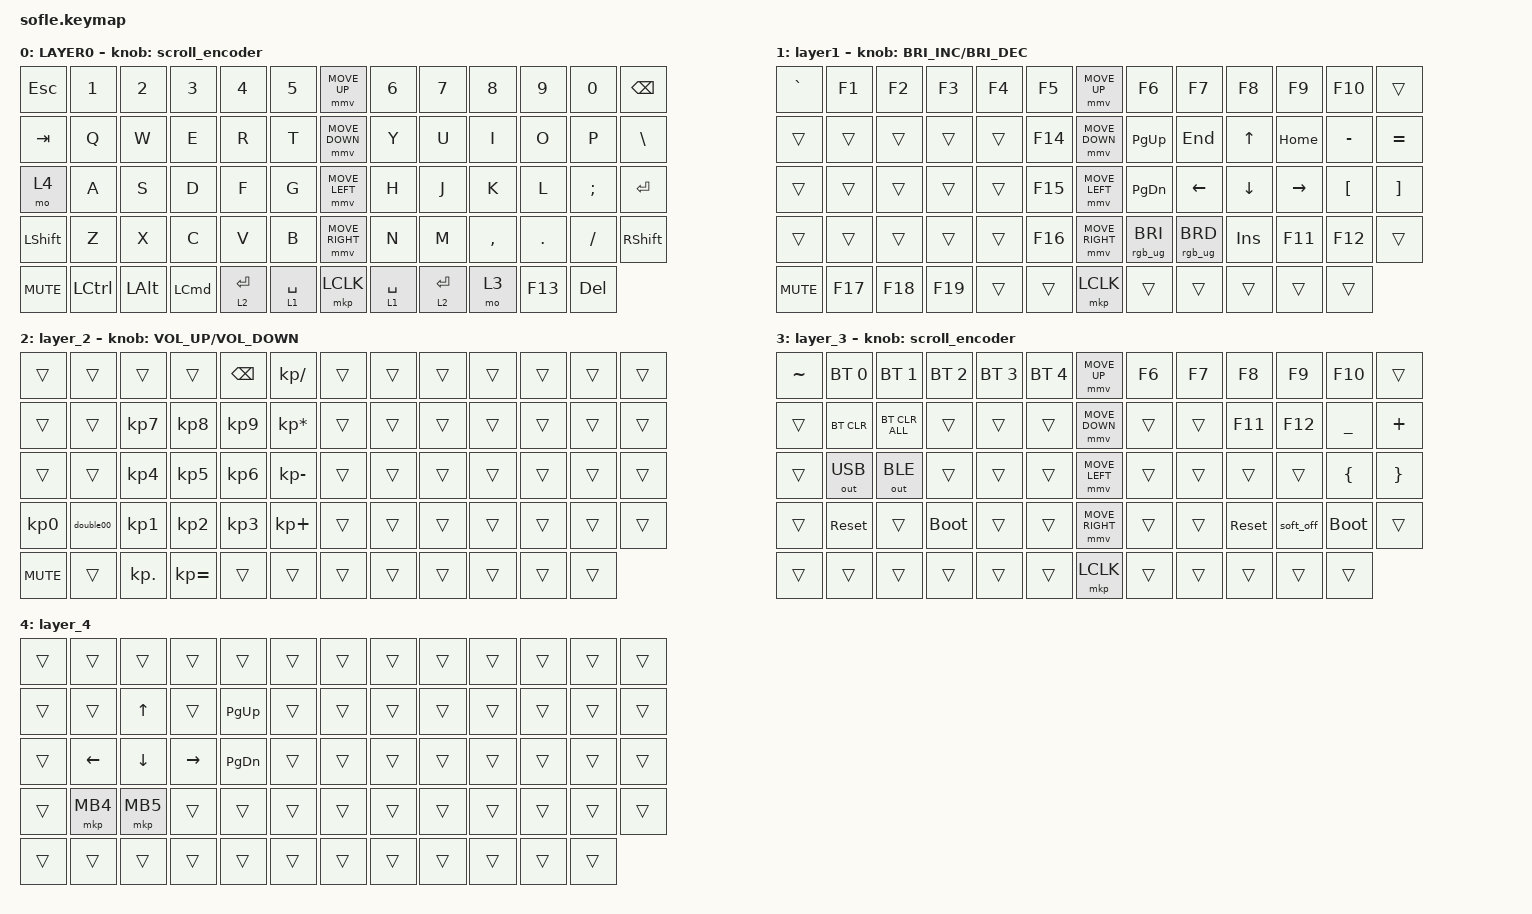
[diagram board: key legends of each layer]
#include <behaviors/mouse_keys.dtsi>
#include <behaviors.dtsi>
#include <dt-bindings/zmk/bt.h>
#include <dt-bindings/zmk/keys.h>
#include <dt-bindings/zmk/mouse.h>
#include <dt-bindings/zmk/outputs.h>
#include <dt-bindings/zmk/rgb.h>

#define ZMK_MOUSE_DEFAULT_MOVE_VAL 1200  // 600
#define ZMK_MOUSE_DEFAULT_SCRL_VAL 20    // 10
#define U_MS_U &mmv MOVE_UP
#define U_MS_D &mmv MOVE_DOWN
#define U_MS_L &mmv MOVE_LEFT
#define U_MS_R &mmv MOVE_RIGHT
#define ZMK_MOUSE_DEFAULT_MOVE_VAL 1200  //  600
#define ZMK_MOUSE_DEFAULT_SCRL_VAL 20    // 10

/ {
    behaviors {
        mmv {
            acceleration-exponent = <1>;      // 1
            time-to-max-speed-ms = <900>;    // 40
            delay-ms = <0>;                   // 0
        };

        msc {
            acceleration-exponent = <1>;      // 0
            time-to-max-speed-ms = <400>;      // 500
            delay-ms = <0>;                   //   10
        };
    };

    scroll_encoder: scroll_encoder {
        compatible = "zmk,behavior-sensor-rotate";
        #sensor-binding-cells = <0>;
        bindings = <&msc SCRL_DOWN>, <&msc SCRL_UP>;

        tap-ms = <30>;
    };

    macros {
        double00: double00 {
            compatible = "zmk,behavior-macro";
            #binding-cells = <0>;
            bindings = <&none &kp N0 &kp N0>;
            label = "DOUBLE00";
        };
    };

    keymap {
        compatible = "zmk,keymap";

        layer0 {
            bindings = <
&kp ESC     &kp N1     &kp N2        &kp N3            &kp N4       &kp N5         &mmv MOVE_UP     &kp N6       &kp N7       &kp N8     &kp N9   &kp N0      &kp BACKSPACE
&kp TAB     &kp Q      &kp W         &kp E             &kp R        &kp T          &mmv MOVE_DOWN   &kp Y        &kp U        &kp I      &kp O    &kp P       &kp BSLH
&mo 4       &kp A      &kp S         &kp D             &kp F        &kp G          &mmv MOVE_LEFT   &kp H        &kp J        &kp K      &kp L    &kp SEMI    &kp ENTER
&kp LSHFT   &kp Z      &kp X         &kp C             &kp V        &kp B          &mmv MOVE_RIGHT  &kp N        &kp M        &kp COMMA  &kp DOT  &kp FSLH    &kp RIGHT_SHIFT
&kp C_MUTE  &kp LCTRL  &kp LEFT_ALT  &kp LEFT_COMMAND  &lt 2 ENTER  &lt 1 SPACE    &mkp LCLK        &lt 1 SPACE  &lt 2 ENTER  &mo 3      &kp F13  &kp DELETE
            >;

            sensor-bindings = <&scroll_encoder>;
            display-name = "LAYER0";
        };

        layer_1 {
            bindings = <
&kp GRAVE   &kp F1   &kp F2   &kp F3   &kp F4  &kp F5     &mmv MOVE_UP     &kp F6           &kp F7           &kp F8      &kp F9     &kp F10           &trans
&trans      &trans   &trans   &trans   &trans  &kp F14    &mmv MOVE_DOWN   &kp PG_UP        &kp END          &kp UP      &kp HOME   &kp MINUS         &kp EQUAL
&trans      &trans   &trans   &trans   &trans  &kp F15    &mmv MOVE_LEFT   &kp PG_DN        &kp LEFT         &kp DOWN    &kp RIGHT  &kp LEFT_BRACKET  &kp RIGHT_BRACKET
&trans      &trans   &trans   &trans   &trans  &kp F16    &mmv MOVE_RIGHT  &rgb_ug RGB_BRI  &rgb_ug RGB_BRD  &kp INSERT  &kp F11    &kp F12           &trans
&kp C_MUTE  &kp F17  &kp F18  &kp F19  &trans  &trans     &mkp LCLK        &trans           &trans           &trans      &trans     &trans
            >;

            display-name = "layer1";
            sensor-bindings = <&inc_dec_kp C_BRIGHTNESS_INC C_BRIGHTNESS_DEC>;
        };

        layer_2 {
            bindings = <
&trans           &trans     &trans      &trans           &kp BACKSPACE    &kp KP_DIVIDE      &trans  &trans  &trans  &trans  &trans  &trans  &trans
&trans           &trans     &kp KP_N7   &kp KP_NUMBER_8  &kp KP_NUMBER_9  &kp KP_ASTERISK    &trans  &trans  &trans  &trans  &trans  &trans  &trans
&trans           &trans     &kp KP_N4   &kp KP_N5        &kp KP_NUMBER_6  &kp KP_MINUS       &trans  &trans  &trans  &trans  &trans  &trans  &trans
&kp KP_NUMBER_0  &double00  &kp KP_N1   &kp KP_N2        &kp KP_N3        &kp KP_PLUS        &trans  &trans  &trans  &trans  &trans  &trans  &trans
&kp C_MUTE       &trans     &kp KP_DOT  &kp KP_EQUAL     &trans           &trans             &trans  &trans  &trans  &trans  &trans  &trans
            >;

            sensor-bindings = <&inc_dec_kp C_VOLUME_UP C_VOLUME_DOWN>;
        };

        layer_3 {
            bindings = <
&kp TILDE  &bt BT_SEL 0  &bt BT_SEL 1    &bt BT_SEL 2  &bt BT_SEL 3  &bt BT_SEL 4    &mmv MOVE_UP     &kp F6  &kp F7  &kp F8      &kp F9     &kp F10      &trans
&trans     &bt BT_CLR    &bt BT_CLR_ALL  &trans        &trans        &trans          &mmv MOVE_DOWN   &trans  &trans  &kp F11     &kp F12    &kp UNDER    &kp PLUS
&trans     &out OUT_USB  &out OUT_BLE    &trans        &trans        &trans          &mmv MOVE_LEFT   &trans  &trans  &trans      &trans     &kp LBRC     &kp RBRC
&trans     &sys_reset    &trans          &bootloader   &trans        &trans          &mmv MOVE_RIGHT  &trans  &trans  &sys_reset  &soft_off  &bootloader  &trans
&trans     &trans        &trans          &trans        &trans        &trans          &mkp LCLK        &trans  &trans  &trans      &trans     &trans
            >;

            sensor-bindings = <&scroll_encoder>;
        };

        layer_4 {
            bindings = <
&trans  &trans    &trans        &trans     &trans       &trans    &trans  &trans  &trans  &trans  &trans  &trans  &trans
&trans  &trans    &kp UP_ARROW  &trans     &kp PAGE_UP  &trans    &trans  &trans  &trans  &trans  &trans  &trans  &trans
&trans  &kp LEFT  &kp DOWN      &kp RIGHT  &kp PG_DN    &trans    &trans  &trans  &trans  &trans  &trans  &trans  &trans
&trans  &mkp MB4  &mkp MB5      &trans     &trans       &trans    &trans  &trans  &trans  &trans  &trans  &trans  &trans
&trans  &trans    &trans        &trans     &trans       &trans    &trans  &trans  &trans  &trans  &trans  &trans
            >;
        };
    };
};
